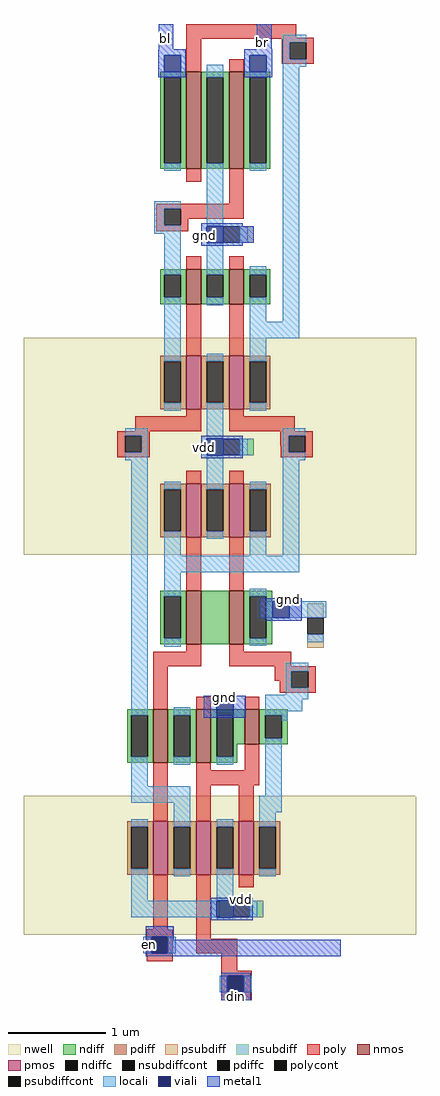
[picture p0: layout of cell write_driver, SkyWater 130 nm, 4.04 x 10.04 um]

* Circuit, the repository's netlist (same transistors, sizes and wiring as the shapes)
*********************** "write_driver" ******************************

.SUBCKT write_driver din bl br en vdd gnd

**** Inverter to conver Data_in to data_in_bar ******
* din_bar = inv(din)
M_1 din_bar din gnd gnd nshort W=0.36 L=0.15
M_2 din_bar din vdd vdd pshort W=0.55 L=0.15

**** 2input nand gate follwed by inverter to drive BL ******
* din_bar_gated = nand(en, din)
M_3 din_bar_gated en net_7 gnd nshort W=0.55 L=0.15
M_4 net_7 din gnd gnd nshort W=0.55 L=0.15
M_5 din_bar_gated en vdd vdd pshort W=0.55 L=0.15
M_6 din_bar_gated din vdd vdd pshort W=0.55 L=0.15
* din_bar_gated_bar = inv(din_bar_gated)
M_7 din_bar_gated_bar din_bar_gated vdd vdd pshort W=0.55 L=0.15
M_8 din_bar_gated_bar din_bar_gated gnd gnd nshort W=0.36 L=0.15

**** 2input nand gate follwed by inverter to drive BR******
* din_gated = nand(en, din_bar)
M_9 din_gated en vdd vdd pshort W=0.55 L=0.15
M_10 din_gated en net_8 gnd nshort W=0.55 L=0.15
M_11 net_8 din_bar gnd gnd nshort W=0.55 L=0.15
M_12 din_gated din_bar vdd vdd pshort W=0.55 L=0.15
* din_gated_bar = inv(din_gated)
M_13 din_gated_bar din_gated vdd vdd pshort W=0.55 L=0.15
M_14 din_gated_bar din_gated gnd gnd nshort W=0.36 L=0.15

************************************************
* pull down with en enable
M_15 bl din_gated_bar gnd gnd nshort W=1 L=0.15
M_16 br din_bar_gated_bar gnd gnd nshort W=1 L=0.15

.ENDS write_driver

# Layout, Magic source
magic
tech sky130A
magscale 1 2
<< nwell >>
rect -152 920 656 1366
rect -152 422 654 424
rect -152 138 656 422
<< nmos >>
rect 183 1713 213 1913
rect 271 1713 301 1913
rect 183 1435 213 1507
rect 271 1435 301 1507
rect 183 736 213 846
rect 271 736 301 846
rect 115 492 145 602
rect 203 492 233 602
rect 303 530 333 602
<< pmos >>
rect 183 1219 213 1329
rect 271 1219 301 1329
rect 183 956 213 1066
rect 271 956 301 1066
rect 115 262 145 372
rect 203 262 233 372
rect 291 262 321 372
<< ndiff >>
rect 129 1901 183 1913
rect 129 1725 137 1901
rect 171 1725 183 1901
rect 129 1713 183 1725
rect 213 1901 271 1913
rect 213 1725 225 1901
rect 259 1725 271 1901
rect 213 1713 271 1725
rect 301 1901 355 1913
rect 301 1725 313 1901
rect 347 1725 355 1901
rect 301 1713 355 1725
rect 129 1495 183 1507
rect 129 1449 137 1495
rect 171 1449 183 1495
rect 129 1435 183 1449
rect 213 1495 271 1507
rect 213 1449 225 1495
rect 259 1449 271 1495
rect 213 1435 271 1449
rect 301 1495 355 1507
rect 301 1449 313 1495
rect 347 1449 355 1495
rect 301 1435 355 1449
rect 129 834 183 846
rect 129 748 137 834
rect 171 748 183 834
rect 129 736 183 748
rect 213 736 271 846
rect 301 834 359 846
rect 301 748 313 834
rect 347 748 359 834
rect 301 736 359 748
rect 61 590 115 602
rect 61 504 69 590
rect 103 504 115 590
rect 61 492 115 504
rect 145 590 203 602
rect 145 504 157 590
rect 191 504 203 590
rect 145 492 203 504
rect 233 590 303 602
rect 233 504 245 590
rect 279 530 303 590
rect 333 590 391 602
rect 333 542 345 590
rect 379 542 391 590
rect 333 530 391 542
rect 279 504 287 530
rect 233 492 287 504
<< pdiff >>
rect 129 1317 183 1329
rect 129 1232 137 1317
rect 171 1232 183 1317
rect 129 1219 183 1232
rect 213 1317 271 1329
rect 213 1232 225 1317
rect 259 1232 271 1317
rect 213 1219 271 1232
rect 301 1317 355 1329
rect 301 1232 313 1317
rect 347 1232 355 1317
rect 301 1219 355 1232
rect 129 1054 183 1066
rect 129 968 137 1054
rect 171 968 183 1054
rect 129 956 183 968
rect 213 1054 271 1066
rect 213 968 225 1054
rect 259 968 271 1054
rect 213 956 271 968
rect 301 1054 356 1066
rect 301 968 313 1054
rect 347 968 356 1054
rect 301 956 356 968
rect 61 360 115 372
rect 61 274 69 360
rect 103 274 115 360
rect 61 262 115 274
rect 145 360 203 372
rect 145 274 157 360
rect 191 274 203 360
rect 145 262 203 274
rect 233 360 291 372
rect 233 274 245 360
rect 279 274 291 360
rect 233 262 291 274
rect 321 360 376 372
rect 321 274 333 360
rect 367 274 376 360
rect 321 262 376 274
<< ndiffc >>
rect 137 1725 171 1901
rect 225 1725 259 1901
rect 313 1725 347 1901
rect 137 1449 171 1495
rect 225 1449 259 1495
rect 313 1449 347 1495
rect 137 748 171 834
rect 313 748 347 834
rect 69 504 103 590
rect 157 504 191 590
rect 245 504 279 590
rect 345 542 379 590
<< pdiffc >>
rect 137 1232 171 1317
rect 225 1232 259 1317
rect 313 1232 347 1317
rect 137 968 171 1054
rect 225 968 259 1054
rect 313 968 347 1054
rect 69 274 103 360
rect 157 274 191 360
rect 245 274 279 360
rect 333 274 367 360
<< psubdiff >>
rect 229 1561 259 1595
rect 293 1561 321 1595
rect 431 790 465 820
rect 431 728 465 756
<< nsubdiff >>
rect 225 1124 259 1158
rect 293 1124 321 1158
rect 249 174 279 208
rect 313 174 341 208
<< psubdiffcont >>
rect 259 1561 293 1595
rect 431 756 465 790
<< nsubdiffcont >>
rect 259 1124 293 1158
rect 279 174 313 208
<< poly >>
rect 183 1983 409 2011
rect 183 1981 445 1983
rect 183 1913 213 1981
rect 379 1973 445 1981
rect 379 1939 395 1973
rect 429 1939 445 1973
rect 271 1913 301 1939
rect 379 1929 445 1939
rect 183 1687 213 1713
rect 271 1641 301 1713
rect 121 1631 301 1641
rect 121 1597 137 1631
rect 171 1611 301 1631
rect 171 1597 187 1611
rect 121 1585 187 1597
rect 183 1507 213 1533
rect 271 1507 301 1533
rect 183 1329 213 1435
rect 271 1329 301 1435
rect 183 1204 213 1219
rect 78 1174 213 1204
rect 271 1204 301 1219
rect 271 1174 406 1204
rect 41 1164 108 1174
rect 41 1130 57 1164
rect 91 1130 108 1164
rect 376 1164 443 1174
rect 41 1120 108 1130
rect 376 1144 393 1164
rect 377 1130 393 1144
rect 427 1130 443 1164
rect 377 1120 443 1130
rect 183 1066 213 1092
rect 271 1066 301 1092
rect 183 846 213 956
rect 271 846 301 956
rect 183 720 213 736
rect 115 690 213 720
rect 271 720 301 736
rect 271 690 399 720
rect 115 602 145 690
rect 365 680 449 690
rect 365 660 399 680
rect 375 646 399 660
rect 433 646 449 680
rect 375 636 449 646
rect 203 602 233 628
rect 303 602 333 628
rect 115 372 145 492
rect 203 476 233 492
rect 303 476 333 530
rect 203 446 333 476
rect 203 372 233 446
rect 291 372 321 446
rect 115 150 145 262
rect 101 148 145 150
rect 101 134 155 148
rect 101 100 111 134
rect 145 100 155 134
rect 203 130 233 262
rect 291 236 321 262
rect 203 100 287 130
rect 101 84 155 100
rect 255 64 287 100
rect 255 54 317 64
rect 255 20 267 54
rect 301 20 317 54
rect 255 4 317 20
<< polycont >>
rect 395 1939 429 1973
rect 137 1597 171 1631
rect 57 1130 91 1164
rect 393 1130 427 1164
rect 399 646 433 680
rect 111 100 145 134
rect 267 20 301 54
<< locali >>
rect 381 1973 429 1989
rect 137 1901 171 1913
rect 137 1709 171 1725
rect 225 1901 259 1927
rect 117 1631 171 1647
rect 117 1597 137 1631
rect 117 1580 171 1597
rect 137 1495 171 1580
rect 137 1317 171 1449
rect 225 1595 259 1725
rect 313 1901 347 1913
rect 313 1709 347 1725
rect 381 1939 395 1973
rect 381 1923 429 1939
rect 293 1561 309 1595
rect 225 1495 259 1561
rect 225 1433 259 1449
rect 313 1495 347 1513
rect 313 1399 347 1449
rect 381 1399 415 1923
rect 313 1365 415 1399
rect 137 1216 171 1232
rect 225 1317 259 1333
rect 57 1164 103 1180
rect 91 1130 103 1164
rect 57 1114 103 1130
rect 69 590 103 1114
rect 225 1158 259 1232
rect 313 1317 347 1365
rect 313 1216 347 1232
rect 381 1164 427 1180
rect 293 1124 309 1158
rect 381 1130 393 1164
rect 137 1054 171 1070
rect 137 918 171 968
rect 225 1054 259 1124
rect 381 1114 427 1130
rect 225 952 259 968
rect 313 1054 347 1070
rect 313 918 347 968
rect 381 918 415 1114
rect 137 884 415 918
rect 137 834 171 884
rect 137 730 171 748
rect 313 834 347 850
rect 347 790 360 824
rect 394 790 471 824
rect 313 732 347 748
rect 431 740 465 756
rect 387 680 433 698
rect 387 646 399 680
rect 387 632 433 646
rect 69 444 103 504
rect 157 590 191 606
rect 157 488 191 504
rect 245 488 279 504
rect 345 622 433 632
rect 345 598 421 622
rect 345 590 391 598
rect 379 578 391 590
rect 69 410 191 444
rect 345 424 379 542
rect 69 360 103 376
rect 69 208 103 274
rect 157 360 191 410
rect 333 390 379 424
rect 157 258 191 274
rect 245 360 279 376
rect 245 208 279 274
rect 333 360 367 390
rect 333 258 367 274
rect 69 174 245 208
rect 313 174 329 208
rect 245 168 279 174
rect 94 100 111 134
rect 145 100 161 134
rect 251 20 267 54
rect 301 20 317 54
<< viali >>
rect 137 1913 171 1947
rect 313 1913 347 1947
rect 225 1561 259 1595
rect 225 1124 259 1158
rect 360 790 394 824
rect 245 590 279 624
rect 245 174 279 208
rect 111 100 145 134
rect 267 20 301 54
<< metal1 >>
rect 126 1959 156 2011
rect 328 1959 358 2011
rect 125 1947 182 1959
rect 125 1913 137 1947
rect 171 1913 182 1947
rect 125 1901 182 1913
rect 302 1947 359 1959
rect 302 1913 313 1947
rect 347 1913 359 1947
rect 302 1901 359 1913
rect 213 1595 299 1601
rect 213 1561 225 1595
rect 259 1561 321 1595
rect 213 1555 299 1561
rect 213 1158 299 1164
rect 213 1124 225 1158
rect 259 1124 299 1158
rect 213 1118 299 1124
rect 334 824 420 830
rect 334 790 360 824
rect 394 790 420 824
rect 334 789 420 790
rect 347 784 420 789
rect 219 624 305 630
rect 219 590 245 624
rect 279 590 305 624
rect 219 584 305 590
rect 233 208 319 214
rect 233 174 245 208
rect 279 174 319 208
rect 233 168 319 174
rect 99 134 157 156
rect 99 100 111 134
rect 145 128 157 134
rect 145 100 500 128
rect 99 94 500 100
rect 255 54 315 60
rect 255 20 267 54
rect 301 20 315 54
rect 255 4 315 20
<< labels >>
rlabel metal1 106 118 106 118 1 en
rlabel metal1 296 210 296 210 1 vdd
rlabel metal1 285 12 285 12 1 din
rlabel metal1 262 626 262 626 1 gnd
rlabel metal1 393 827 393 827 1 gnd
rlabel metal1 220 1140 220 1140 1 vdd
rlabel metal1 340 1973 340 1973 1 br
rlabel metal1 140 1981 140 1981 1 bl
rlabel metal1 220 1577 220 1577 1 gnd
<< properties >>
string FIXED_BBOX 0 0 500 2011
<< end >>
